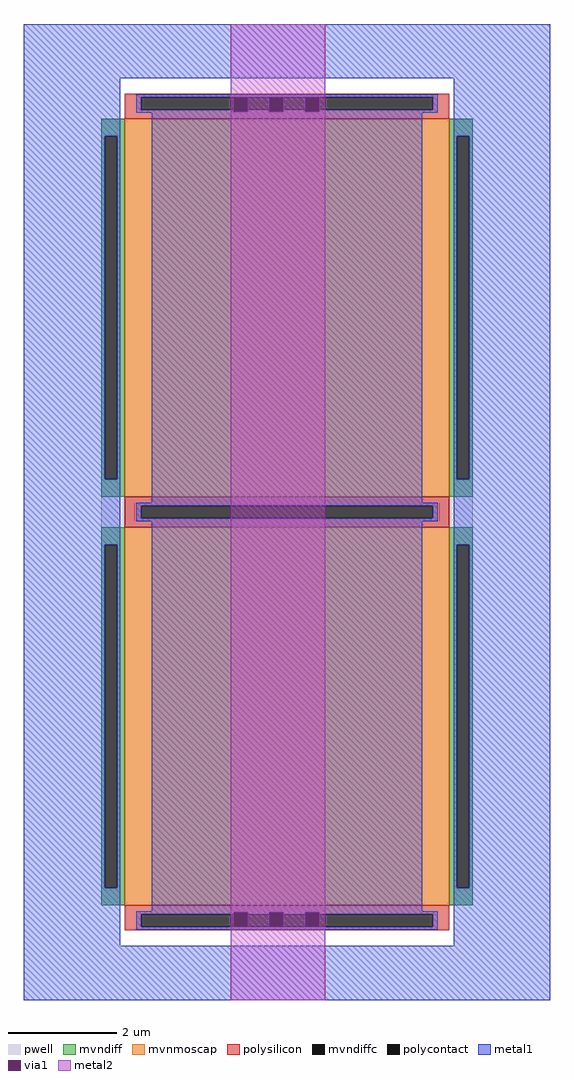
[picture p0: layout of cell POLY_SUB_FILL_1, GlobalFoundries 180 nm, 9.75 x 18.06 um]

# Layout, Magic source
magic
tech gf180mcuD
magscale 1 10
<< pwell >>
rect 597 223 1973 3135
<< mvndiff >>
rect 597 3069 685 3135
rect 597 1801 610 3069
rect 656 1801 685 3069
rect 597 1735 685 1801
rect 1885 3069 1973 3135
rect 1885 1801 1914 3069
rect 1960 1801 1973 3069
rect 1885 1735 1973 1801
rect 597 1557 685 1623
rect 597 289 610 1557
rect 656 289 685 1557
rect 597 223 685 289
rect 1885 1557 1973 1623
rect 1885 289 1914 1557
rect 1960 289 1973 1557
rect 1885 223 1973 289
<< mvndiffc >>
rect 610 1801 656 3069
rect 1914 1801 1960 3069
rect 610 289 656 1557
rect 1914 289 1960 1557
<< mvnmoscap >>
rect 685 1735 1885 3135
rect 685 223 1885 1623
<< polysilicon >>
rect 685 3214 1885 3227
rect 685 3168 745 3214
rect 1825 3168 1885 3214
rect 685 3135 1885 3168
rect 685 1702 1885 1735
rect 685 1656 745 1702
rect 1825 1656 1885 1702
rect 685 1623 1885 1656
rect 685 190 1885 223
rect 685 144 745 190
rect 1825 144 1885 190
rect 685 131 1885 144
<< polycontact >>
rect 745 3168 1825 3214
rect 745 1656 1825 1702
rect 745 144 1825 190
<< metal1 >>
rect 310 3285 2260 3485
rect 310 3069 667 3285
rect 727 3214 1843 3225
rect 727 3168 745 3214
rect 1825 3168 1843 3214
rect 727 3161 1088 3168
rect 1140 3161 1220 3168
rect 1272 3161 1352 3168
rect 1404 3161 1843 3168
rect 727 3157 1843 3161
rect 310 1801 610 3069
rect 656 1801 667 3069
rect 310 1557 667 1801
rect 785 1713 1785 3157
rect 1903 3069 2260 3285
rect 1903 1801 1914 3069
rect 1960 1801 2260 3069
rect 727 1702 1843 1713
rect 727 1656 745 1702
rect 1825 1656 1843 1702
rect 727 1645 1843 1656
rect 310 289 610 1557
rect 656 289 667 1557
rect 310 73 667 289
rect 785 201 1785 1645
rect 1903 1557 2260 1801
rect 1903 289 1914 1557
rect 1960 289 2260 1557
rect 727 197 1843 201
rect 727 190 1088 197
rect 1140 190 1220 197
rect 1272 190 1352 197
rect 1404 190 1843 197
rect 727 144 745 190
rect 1825 144 1843 190
rect 727 133 1843 144
rect 1903 73 2260 289
rect 310 -127 2260 73
<< via1 >>
rect 1088 3168 1140 3213
rect 1220 3168 1272 3213
rect 1352 3168 1404 3213
rect 1088 3161 1140 3168
rect 1220 3161 1272 3168
rect 1352 3161 1404 3168
rect 1088 190 1140 197
rect 1220 190 1272 197
rect 1352 190 1404 197
rect 1088 145 1140 190
rect 1220 145 1272 190
rect 1352 145 1404 190
<< metal2 >>
rect 1076 3213 1427 3485
rect 1076 3161 1088 3213
rect 1140 3161 1220 3213
rect 1272 3161 1352 3213
rect 1404 3161 1427 3213
rect 1076 197 1427 3161
rect 1076 145 1088 197
rect 1140 145 1220 197
rect 1272 145 1352 197
rect 1404 145 1427 197
rect 1076 -127 1427 145
<< end >>
